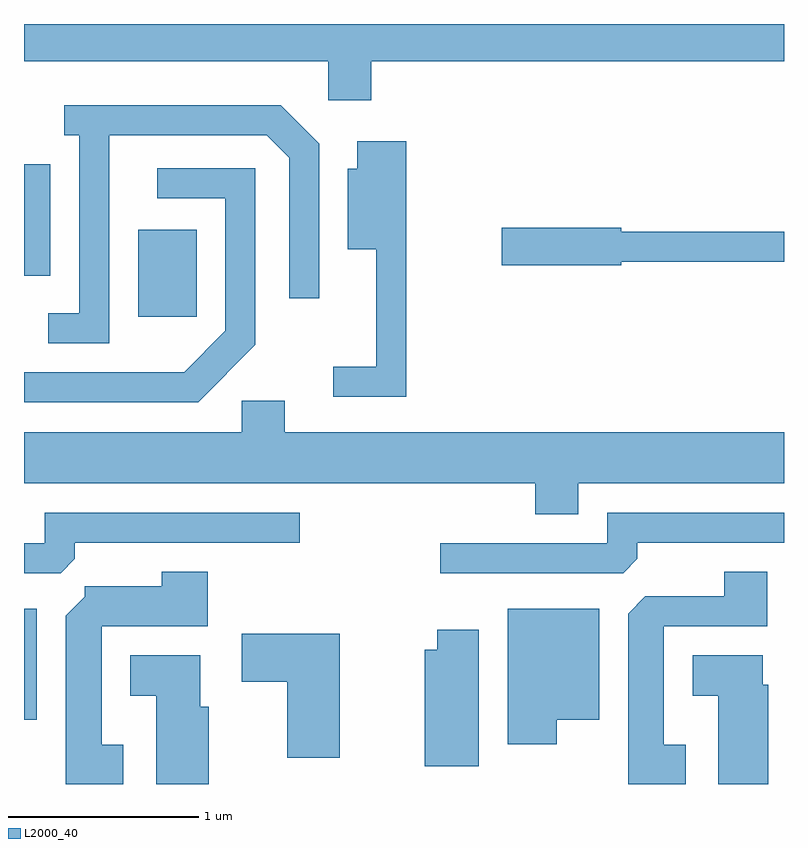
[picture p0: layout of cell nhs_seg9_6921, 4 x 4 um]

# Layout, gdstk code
import gdstk
lib = gdstk.Library(unit=1e-6, precision=1e-09)
def R(c, l, rs):  # rectangles x0, y0, x1, y1
    for r in rs: c.add(gdstk.rectangle(r[:2], r[2:], *l))
def P(c, l, *ps):  # polygons
    for p in ps: c.add(gdstk.Polygon(p, *l))
L2000_40 = (2000, 40)

nhs_seg9_6921 = lib.new_cell('nhs_seg9_6921')
R(nhs_seg9_6921, L2000_40, [(389.611,2012.771,389.679,2013.354), (390.211,2014.891,390.519,2015.349), (389.611,2015.108,389.749,2015.694)])
P(nhs_seg9_6921, L2000_40, [(391.439,2016.236),(393.611,2016.236),(393.611,2016.432),(389.611,2016.432),(389.611,2016.236),(391.211,2016.236),(391.211,2016.031),(391.439,2016.031)],
  [(390.059,2015.846),(390.889,2015.846),(391.006,2015.729),(391.006,2014.988),(391.164,2014.988),(391.164,2015.802),(390.962,2016.004),(389.823,2016.004),(389.823,2015.846),(389.901,2015.846),(389.901,2014.909),(389.738,2014.909),(389.738,2014.751),(390.059,2014.751)],
  [(391.624,2015.814),(391.366,2015.814),(391.366,2015.669),(391.316,2015.669),(391.316,2015.246),(391.466,2015.246),(391.466,2014.629),(391.238,2014.629),(391.238,2014.471),(391.624,2014.471)],
  [(390.829,2014.744),(390.829,2015.674),(390.313,2015.674),(390.313,2015.516),(390.671,2015.516),(390.671,2014.817),(390.454,2014.599),(389.611,2014.599),(389.611,2014.441),(390.527,2014.441)],
  [(392.754,2015.181),(393.611,2015.181),(393.611,2015.339),(392.754,2015.339),(392.754,2015.359),(392.126,2015.359),(392.126,2015.161),(392.754,2015.161)],
  [(392.529,2014.016),(393.611,2014.016),(393.611,2014.284),(390.984,2014.284),(390.984,2014.449),(390.756,2014.449),(390.756,2014.284),(389.611,2014.284),(389.611,2014.016),(392.301,2014.016),(392.301,2013.851),(392.529,2013.851)],
  [(392.839,2013.617),(392.839,2013.701),(393.611,2013.701),(393.611,2013.859),(392.681,2013.859),(392.681,2013.699),(391.803,2013.699),(391.803,2013.541),(392.764,2013.541)],
  [(389.879,2013.617),(389.879,2013.701),(391.063,2013.701),(391.063,2013.859),(389.721,2013.859),(389.721,2013.699),(389.611,2013.699),(389.611,2013.541),(389.804,2013.541)],
  [(393.094,2012.639),(392.979,2012.639),(392.979,2013.261),(393.524,2013.261),(393.524,2013.549),(393.296,2013.549),(393.296,2013.419),(392.882,2013.419),(392.791,2013.329),(392.791,2012.432),(393.094,2012.432)],
  [(390.134,2012.639),(390.019,2012.639),(390.019,2013.261),(390.579,2013.261),(390.579,2013.549),(390.336,2013.549),(390.336,2013.474),(389.931,2013.474),(389.931,2013.417),(389.831,2013.317),(389.831,2012.432),(390.134,2012.432)],
  [(392.414,2012.771),(392.639,2012.771),(392.639,2013.354),(392.156,2013.354),(392.156,2012.641),(392.414,2012.641)],
  [(392.004,2013.244),(391.786,2013.244),(391.786,2013.139),(391.721,2013.139),(391.721,2012.526),(392.004,2012.526)],
  [(391.274,2013.224),(390.756,2013.224),(390.756,2012.971),(390.996,2012.971),(390.996,2012.571),(391.274,2012.571)],
  [(390.584,2012.839),(390.539,2012.839),(390.539,2013.109),(390.171,2013.109),(390.171,2012.896),(390.306,2012.896),(390.306,2012.432),(390.584,2012.432)],
  [(393.529,2012.954),(393.499,2012.954),(393.499,2013.109),(393.131,2013.109),(393.131,2012.896),(393.266,2012.896),(393.266,2012.432),(393.529,2012.432)])

lib.write_gds('nhs_seg9_6921.gds')
